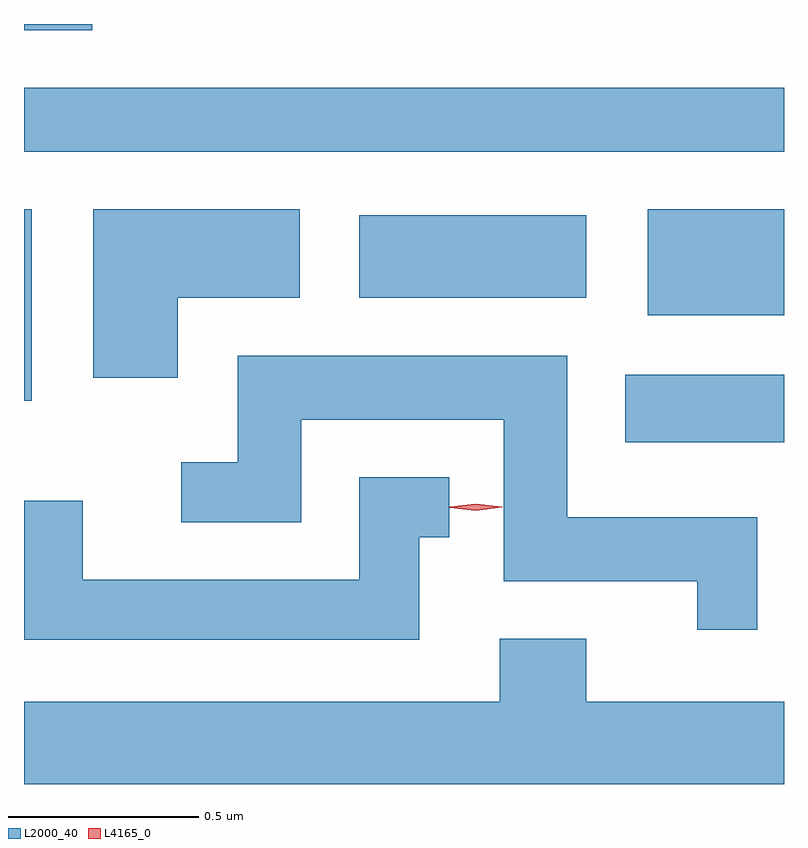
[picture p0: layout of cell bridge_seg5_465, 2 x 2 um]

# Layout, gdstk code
import gdstk
lib = gdstk.Library(unit=1e-6, precision=1e-09)
def R(c, l, rs):  # rectangles x0, y0, x1, y1
    for r in rs: c.add(gdstk.rectangle(r[:2], r[2:], *l))
def P(c, l, *ps):  # polygons
    for p in ps: c.add(gdstk.Polygon(p, *l))
L2000_40 = (2000, 40)
L4165_0 = (4165, 0)

bridge_seg5_465 = lib.new_cell('bridge_seg5_465')
R(bridge_seg5_465, L2000_40, [(381.771,1506.586,382.189,1506.764), (380.189,1506.696,380.209,1507.199), (381.831,1506.921,382.189,1507.199), (381.071,1506.966,381.669,1507.184), (380.189,1507.351,382.189,1507.519), (380.189,1507.671,380.369,1507.687)])
P(bridge_seg5_465, L2000_40, [(380.594,1506.966),(380.914,1506.966),(380.914,1507.199),(380.371,1507.199),(380.371,1506.756),(380.594,1506.756)],
  [(382.119,1506.389),(381.619,1506.389),(381.619,1506.814),(380.751,1506.814),(380.751,1506.534),(380.603,1506.534),(380.603,1506.376),(380.919,1506.376),(380.919,1506.646),(381.451,1506.646),(381.451,1506.221),(381.961,1506.221),(381.961,1506.093),(382.119,1506.093)],
  [(381.229,1506.336),(381.308,1506.336),(381.308,1506.494),(381.071,1506.494),(381.071,1506.224),(380.344,1506.224),(380.344,1506.433),(380.189,1506.433),(380.189,1506.066),(381.229,1506.066)],
  [(382.189,1505.904),(381.669,1505.904),(381.669,1506.069),(381.441,1506.069),(381.441,1505.904),(380.189,1505.904),(380.189,1505.687),(382.189,1505.687)])
P(bridge_seg5_465, L4165_0, [(381.378,1506.406),(381.309,1506.414),(381.309,1506.415),(381.309,1506.416),(381.378,1506.425),(381.448,1506.416),(381.448,1506.416),(381.448,1506.415)])

lib.write_gds('bridge_seg5_465.gds')
